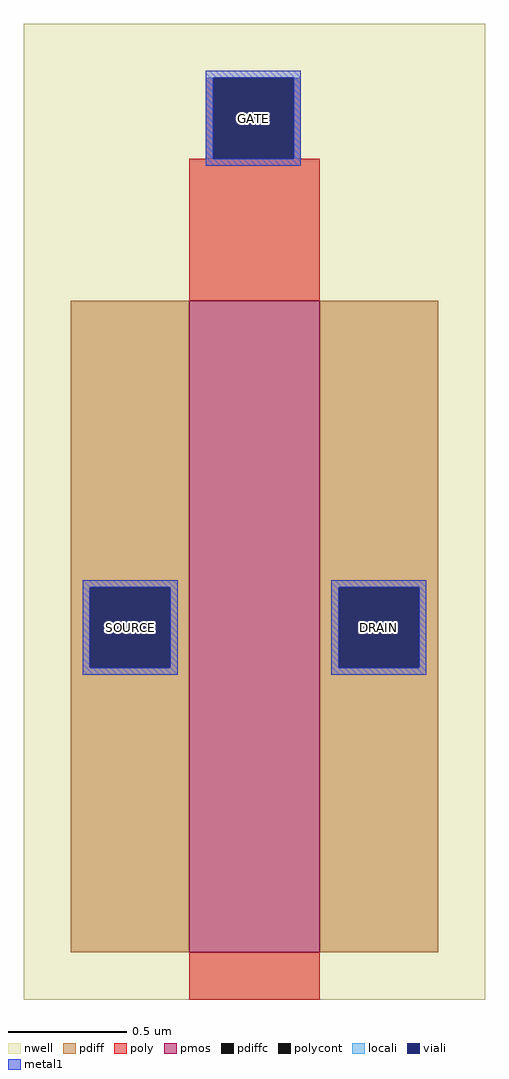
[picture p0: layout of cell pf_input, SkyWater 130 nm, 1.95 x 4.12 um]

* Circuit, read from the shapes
.subckt pf_input SOURCE DRAIN GATE
XM1 DRAIN GATE SOURCE n1 sky130_fd_pr__pfet_01v8 w=2.75 l=0.55
.ends

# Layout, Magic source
magic
tech sky130A
<< nwell >>
rect -20 -20 175 392
<< pmos >>
rect 50 0 105 275
<< pdiff >>
rect 0 154 50 275
rect 0 120 8 154
rect 42 120 50 154
rect 0 0 50 120
rect 105 154 155 275
rect 105 120 113 154
rect 147 120 155 154
rect 105 0 155 120
<< pdiffc >>
rect 8 120 42 154
rect 113 120 147 154
<< poly >>
rect 57 335 60 369
rect 94 335 97 369
rect 50 275 105 335
rect 50 -20 105 0
<< polycont >>
rect 60 335 94 369
<< locali >>
rect 57 335 60 369
rect 94 335 97 369
<< viali >>
rect 60 335 94 369
rect 8 120 42 154
rect 113 120 147 154
<< metal1 >>
rect 57 369 97 372
rect 57 335 60 369
rect 94 335 97 369
rect 57 332 97 335
rect 5 154 45 157
rect 5 120 8 154
rect 42 120 45 154
rect 5 117 45 120
rect 110 154 150 157
rect 110 120 113 154
rect 147 120 150 154
rect 110 117 150 120
<< labels >>
flabel metal1 s 5 117 45 157 0 FreeSans 200 0 0 0 SOURCE
port 1 nsew
flabel metal1 s 110 117 150 157 0 FreeSans 200 0 0 0 DRAIN
port 2 nsew
flabel metal1 s 57 332 97 372 0 FreeSans 200 0 0 0 GATE
port 3 nsew
<< end >>
